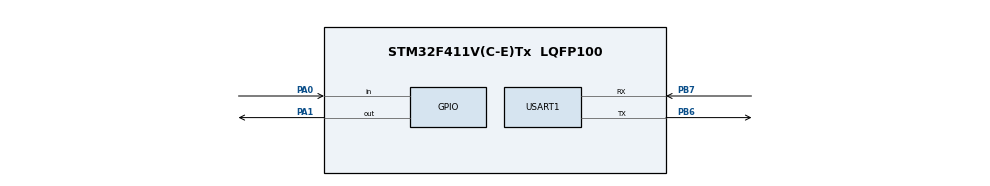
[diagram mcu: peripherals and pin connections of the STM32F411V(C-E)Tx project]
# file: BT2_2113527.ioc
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Mcu.Family=STM32F4
Mcu.Name=STM32F411V(C-E)Tx
Mcu.Package=LQFP100
NVIC.PriorityGroup=NVIC_PRIORITYGROUP_4
NVIC.USART1_IRQn=true\:1\:0\:true\:false\:true\:true\:true\:true
PA0-WKUP.Signal=GPIO_Input
PA1.Signal=GPIO_Output
PB6.Mode=Asynchronous
PB6.Signal=USART1_TX
PB7.Mode=Asynchronous
PB7.Signal=USART1_RX
ProjectManager.HeapSize=0x200
ProjectManager.StackSize=0x400
ProjectManager.TargetToolchain=STM32CubeIDE
RCC.AHBFreq_Value=16000000
RCC.APB1Freq_Value=16000000
RCC.APB2Freq_Value=16000000
RCC.CortexFreq_Value=16000000
RCC.HSE_VALUE=25000000
RCC.HSI_VALUE=16000000
RCC.LSE_VALUE=32768
RCC.SYSCLKFreq_VALUE=16000000
RCC.VCOOutputFreq_Value=192000000
USART1.VirtualMode=VM_ASYNC
board=custom

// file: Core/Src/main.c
/* USER CODE BEGIN Header */
/**
  ******************************************************************************
  * @file           : main.c
  * @brief          : Main program body
  ******************************************************************************
  * @attention
  *
  * Copyright (c) 2024 STMicroelectronics.
  * All rights reserved.
  *
  * This software is licensed under terms that can be found in the LICENSE file
  * in the root directory of this software component.
  * If no LICENSE file comes with this software, it is provided AS-IS.
  *
  ******************************************************************************
  */
/* USER CODE END Header */
#include "main.h"

/* USER CODE BEGIN Includes */
#include "FreeRTOS.h"
#include "task.h"
#include "uartstdio.h"
#include <string.h>
/* USER CODE END Includes */

/* USER CODE BEGIN PTD */
typedef	enum {
	STATE_LED_ON,
	STATE_WAIT_LED_ON,
	STATE_LED_OFF,
	STATE_WAIT_LED_OFF,
}sm_sw_t;

/* USER CODE END PTD */

/* USER CODE BEGIN PV */
xQueueHandle		queue_led;
sm_sw_t 	state;
UART_t 		data_uart_1;
/* USER CODE END PV */

void SystemClock_Config(void);
static void MX_GPIO_Init(void);
static void MX_USART1_UART_Init(void);

/* USER CODE BEGIN 0 */
static void LED_Task( void *pvParameters );
static void UART_Task( void *pvParameters );
static void Switch_Task( void *pvParameters );
/* USER CODE END 0 */

int main(void)
{

  /* MCU Configuration--------------------------------------------------------*/

  /* Reset of all peripherals, Initializes the Flash interface and the Systick. */
  LL_APB2_GRP1_EnableClock(LL_APB2_GRP1_PERIPH_SYSCFG);
  LL_APB1_GRP1_EnableClock(LL_APB1_GRP1_PERIPH_PWR);

  /* System interrupt init*/
  NVIC_SetPriorityGrouping(NVIC_PRIORITYGROUP_4);

  /* SysTick_IRQn interrupt configuration */
  NVIC_SetPriority(SysTick_IRQn, NVIC_EncodePriority(NVIC_GetPriorityGrouping(),15, 0));

  /* Configure the system clock */
  SystemClock_Config();

  /* Initialize all configured peripherals */
  MX_GPIO_Init();
  MX_USART1_UART_Init();
  /* USER CODE BEGIN 2 */

  queue_led = xQueueCreate(5, sizeof(led_command_t));

  data_uart_1.position_uart = 0;
  data_uart_1.uart_flag = 0;
  state = STATE_LED_OFF;

  xTaskCreate(LED_Task, "LED_Task",configMINIMAL_STACK_SIZE, NULL, 2, NULL);
  xTaskCreate(UART_Task, "UART_Task",configMINIMAL_STACK_SIZE, NULL, 1, NULL);
  xTaskCreate(Switch_Task, "SW task",configMINIMAL_STACK_SIZE, NULL, 1, NULL);

  /* USER CODE END 2 */

  /* Infinite loop */
  /* USER CODE BEGIN WHILE */
  vTaskStartScheduler();
  while (1)
  {
    /* USER CODE END WHILE */

  }
}

void SystemClock_Config(void)
{
  LL_FLASH_SetLatency(LL_FLASH_LATENCY_0);
  while(LL_FLASH_GetLatency()!= LL_FLASH_LATENCY_0)
  {
  }
  LL_PWR_SetRegulVoltageScaling(LL_PWR_REGU_VOLTAGE_SCALE1);
  LL_RCC_HSI_SetCalibTrimming(16);
  LL_RCC_HSI_Enable();

   /* Wait till HSI is ready */
  while(LL_RCC_HSI_IsReady() != 1)
  {

  }
  LL_RCC_SetAHBPrescaler(LL_RCC_SYSCLK_DIV_1);
  LL_RCC_SetAPB1Prescaler(LL_RCC_APB1_DIV_1);
  LL_RCC_SetAPB2Prescaler(LL_RCC_APB2_DIV_1);
  LL_RCC_SetSysClkSource(LL_RCC_SYS_CLKSOURCE_HSI);

   /* Wait till System clock is ready */
  while(LL_RCC_GetSysClkSource() != LL_RCC_SYS_CLKSOURCE_STATUS_HSI)
  {

  }
  LL_Init1msTick(16000000);
  LL_SetSystemCoreClock(16000000);
  LL_RCC_SetTIMPrescaler(LL_RCC_TIM_PRESCALER_TWICE);
}

static void MX_USART1_UART_Init(void)
{

  LL_USART_InitTypeDef USART_InitStruct = {0};

  LL_GPIO_InitTypeDef GPIO_InitStruct = {0};

  /* Peripheral clock enable */
  LL_APB2_GRP1_EnableClock(LL_APB2_GRP1_PERIPH_USART1);

  LL_AHB1_GRP1_EnableClock(LL_AHB1_GRP1_PERIPH_GPIOB);
  /**USART1 GPIO Configuration
  PB6   ------> USART1_TX
  PB7   ------> USART1_RX
  */
  GPIO_InitStruct.Pin = LL_GPIO_PIN_6|LL_GPIO_PIN_7;
  GPIO_InitStruct.Mode = LL_GPIO_MODE_ALTERNATE;
  GPIO_InitStruct.Speed = LL_GPIO_SPEED_FREQ_VERY_HIGH;
  GPIO_InitStruct.OutputType = LL_GPIO_OUTPUT_PUSHPULL;
  GPIO_InitStruct.Pull = LL_GPIO_PULL_NO;
  GPIO_InitStruct.Alternate = LL_GPIO_AF_7;
  LL_GPIO_Init(GPIOB, &GPIO_InitStruct);

  /* USART1 interrupt Init */
  NVIC_SetPriority(USART1_IRQn, NVIC_EncodePriority(NVIC_GetPriorityGrouping(),1, 0));
  NVIC_EnableIRQ(USART1_IRQn);

  USART_InitStruct.BaudRate = 115200;
  USART_InitStruct.DataWidth = LL_USART_DATAWIDTH_8B;
  USART_InitStruct.StopBits = LL_USART_STOPBITS_1;
  USART_InitStruct.Parity = LL_USART_PARITY_NONE;
  USART_InitStruct.TransferDirection = LL_USART_DIRECTION_TX_RX;
  USART_InitStruct.HardwareFlowControl = LL_USART_HWCONTROL_NONE;
  USART_InitStruct.OverSampling = LL_USART_OVERSAMPLING_16;
  LL_USART_Init(USART1, &USART_InitStruct);
  LL_USART_ConfigAsyncMode(USART1);
  LL_USART_Enable(USART1);

}

static void MX_GPIO_Init(void)
{
  LL_GPIO_InitTypeDef GPIO_InitStruct = {0};

  /* GPIO Ports Clock Enable */
  LL_AHB1_GRP1_EnableClock(LL_AHB1_GRP1_PERIPH_GPIOA);
  LL_AHB1_GRP1_EnableClock(LL_AHB1_GRP1_PERIPH_GPIOB);

  /**/
  LL_GPIO_ResetOutputPin(GPIOA, LL_GPIO_PIN_1);

  /**/
  GPIO_InitStruct.Pin = LL_GPIO_PIN_0;
  GPIO_InitStruct.Mode = LL_GPIO_MODE_INPUT;
  GPIO_InitStruct.Pull = LL_GPIO_PULL_NO;
  LL_GPIO_Init(GPIOA, &GPIO_InitStruct);

  /**/
  GPIO_InitStruct.Pin = LL_GPIO_PIN_1;
  GPIO_InitStruct.Mode = LL_GPIO_MODE_OUTPUT;
  GPIO_InitStruct.Speed = LL_GPIO_SPEED_FREQ_LOW;
  GPIO_InitStruct.OutputType = LL_GPIO_OUTPUT_PUSHPULL;
  GPIO_InitStruct.Pull = LL_GPIO_PULL_NO;
  LL_GPIO_Init(GPIOA, &GPIO_InitStruct);

}

/* USER CODE BEGIN 4 */
static void LED_Task( void *pvParameters )
{
  led_command_t	received_led_command;
  BaseType_t	ret;
	while(1)
	{
		ret = xQueueReceive(queue_led, &received_led_command, portMAX_DELAY);
		if(ret == pdPASS)
		{
			if (received_led_command == LED_ON)
			{
				LL_GPIO_SetOutputPin(GPIOA, LL_GPIO_PIN_1);
			}
			else 	if (received_led_command == LED_OFF)
			{
				LL_GPIO_ResetOutputPin(GPIOA, LL_GPIO_PIN_1);
			}
			else 	if (received_led_command == LED_TOGGLE)
			{
				LL_GPIO_TogglePin(GPIOA, LL_GPIO_PIN_1);
			}
		}
	}
}
/**
 * The `UART_Task` function processes incoming UART commands to control an LED based on the received
 * commands.
 *
 * @param pvParameters In the provided code snippet, the `pvParameters` parameter in the `UART_Task`
 * function is not being used. This parameter is typically used to pass any additional parameters or
 * data to the task when it is created using FreeRTOS. If you don't have any specific parameters to
 * pass to the task
 */
static void UART_Task( void *pvParameters )
{
  led_command_t send_led_command;
	while(1)
	{
		if (data_uart_1.uart_flag == 1)
		{
		  if (memcmp(data_uart_1.uart_buffer, "ON\r", strlen((char *)data_uart_1.uart_buffer)) == 0)
		  {
			send_led_command = LED_ON;
			state = STATE_LED_ON;
		  }
		  else if (memcmp(data_uart_1.uart_buffer, "OFF\r", strlen((char *)data_uart_1.uart_buffer)) == 0)
		  {
			send_led_command = LED_OFF;
			state = STATE_LED_OFF;
		  }
		  else if (memcmp(data_uart_1.uart_buffer, "TOGGLE\r", strlen((char *)data_uart_1.uart_buffer)) == 0)
		  {
			send_led_command = LED_TOGGLE;
			if(state == STATE_LED_ON) state = STATE_LED_OFF;
			else state = STATE_LED_ON;
		  }
		  xQueueSend(queue_led,&send_led_command,0);
		  data_uart_1.uart_flag = 0;
		  memset(data_uart_1.uart_buffer, '\0', sizeof(data_uart_1.uart_buffer));
		}
		vTaskDelay(100);
	}
}

static uint32_t read_button()
{

	if (LL_GPIO_IsInputPinSet(GPIOA, LL_GPIO_PIN_0)) 	return PRESSED;
	else 												return RELEASED;
}
static void Switch_Task( void *pvParameters )
{
	uint32_t		switch_prev_state = read_button();
	uint32_t		switch_current_state;
	led_command_t	Switch_Task_led_command;

	while(1)
	{
		switch_current_state = read_button();
		if (switch_current_state != switch_prev_state)
		{
			switch_prev_state = switch_current_state;
			switch (state)
			{
				case STATE_LED_OFF:
					if(switch_current_state == PRESSED)
					{
						state = STATE_WAIT_LED_ON;
					}
					Switch_Task_led_command = LED_OFF;
					break;
				case STATE_WAIT_LED_ON:
					if(switch_current_state == RELEASED)
					{
						state = STATE_LED_ON;
					}
					Switch_Task_led_command = LED_ON;
					break;
				case STATE_LED_ON:
					if(switch_current_state == PRESSED)
					{
						state = STATE_WAIT_LED_OFF;
					}
					Switch_Task_led_command = LED_ON;
					break;
				case STATE_WAIT_LED_OFF:
					if(switch_current_state == PRESSED)
					{
						state = STATE_LED_ON;
					}
					Switch_Task_led_command = LED_OFF;
					break;
			}
			xQueueSend(queue_led,&Switch_Task_led_command,0);
		}
		vTaskDelay(10);
	}
}
/* USER CODE END 4 */

void Error_Handler(void)
{
  __disable_irq();
  while (1)
  {
  }
}
